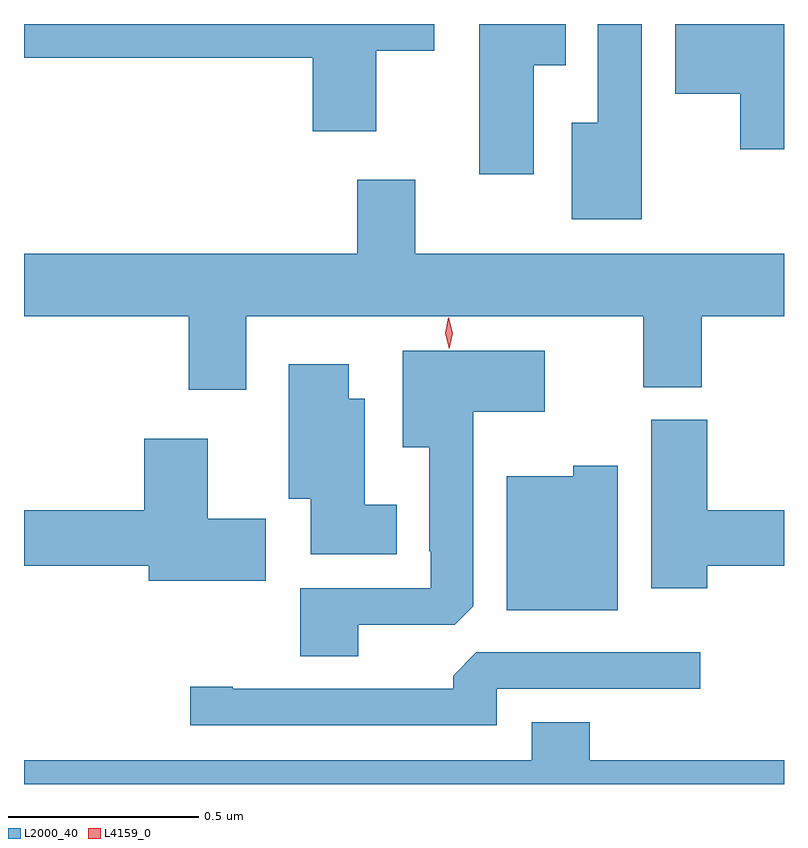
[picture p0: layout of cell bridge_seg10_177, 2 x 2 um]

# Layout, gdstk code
import gdstk
lib = gdstk.Library(unit=1e-6, precision=1e-09)
def P(c, l, *ps):  # polygons
    for p in ps: c.add(gdstk.Polygon(p, *l))
L2000_40 = (2000, 40)
L4159_0 = (4159, 0)

bridge_seg10_177 = lib.new_cell('bridge_seg10_177')
P(bridge_seg10_177, L2000_40, [(193.486,1285.03),(193.639,1285.03),(193.639,1285.101),(192.559,1285.101),(192.559,1285.012),(193.319,1285.012),(193.319,1284.819),(193.486,1284.819)],
  [(194.185,1285.101),(194.069,1285.101),(194.069,1284.841),(194,1284.841),(194,1284.587),(194.185,1284.587)],
  [(193.9,1284.992),(193.984,1284.992),(193.984,1285.101),(193.757,1285.101),(193.757,1284.705),(193.9,1284.705)],
  [(194.559,1285.101),(194.273,1285.101),(194.273,1284.917),(194.444,1284.917),(194.444,1284.771),(194.559,1284.771)],
  [(193.588,1284.691),(193.436,1284.691),(193.436,1284.496),(192.559,1284.496),(192.559,1284.332),(192.992,1284.332),(192.992,1284.138),(193.144,1284.138),(193.144,1284.332),(194.189,1284.332),(194.189,1284.145),(194.342,1284.145),(194.342,1284.332),(194.559,1284.332),(194.559,1284.496),(193.588,1284.496)],
  [(193.438,1283.52),(193.692,1283.52),(193.741,1283.569),(193.741,1284.08),(193.93,1284.08),(193.93,1284.241),(193.556,1284.241),(193.556,1283.987),(193.625,1283.987),(193.625,1283.713),(193.629,1283.713),(193.629,1283.616),(193.286,1283.616),(193.286,1283.437),(193.438,1283.437)],
  [(193.54,1283.836),(193.456,1283.836),(193.456,1284.115),(193.414,1284.115),(193.414,1284.205),(193.256,1284.205),(193.256,1283.852),(193.313,1283.852),(193.313,1283.705),(193.54,1283.705)],
  [(194.357,1283.675),(194.559,1283.675),(194.559,1283.822),(194.357,1283.822),(194.357,1284.06),(194.21,1284.06),(194.21,1283.616),(194.357,1283.616)],
  [(193.195,1283.799),(193.042,1283.799),(193.042,1284.01),(192.875,1284.01),(192.875,1283.822),(192.559,1283.822),(192.559,1283.675),(192.887,1283.675),(192.887,1283.636),(193.195,1283.636)],
  [(194.122,1283.938),(194.004,1283.938),(194.004,1283.911),(193.829,1283.911),(193.829,1283.558),(194.122,1283.558)],
  [(193.803,1283.352),(194.338,1283.352),(194.338,1283.448),(193.749,1283.448),(193.688,1283.386),(193.688,1283.352),(193.108,1283.352),(193.108,1283.357),(192.996,1283.357),(192.996,1283.256),(193.803,1283.256)],
  [(194.559,1283.164),(194.048,1283.164),(194.048,1283.263),(193.895,1283.263),(193.895,1283.164),(192.559,1283.164),(192.559,1283.101),(194.559,1283.101)])
P(bridge_seg10_177, L4159_0, [(193.678,1284.246),(193.678,1284.246),(193.667,1284.287),(193.676,1284.328),(193.677,1284.328),(193.677,1284.328),(193.687,1284.287),(193.678,1284.246)])

lib.write_gds('bridge_seg10_177.gds')
